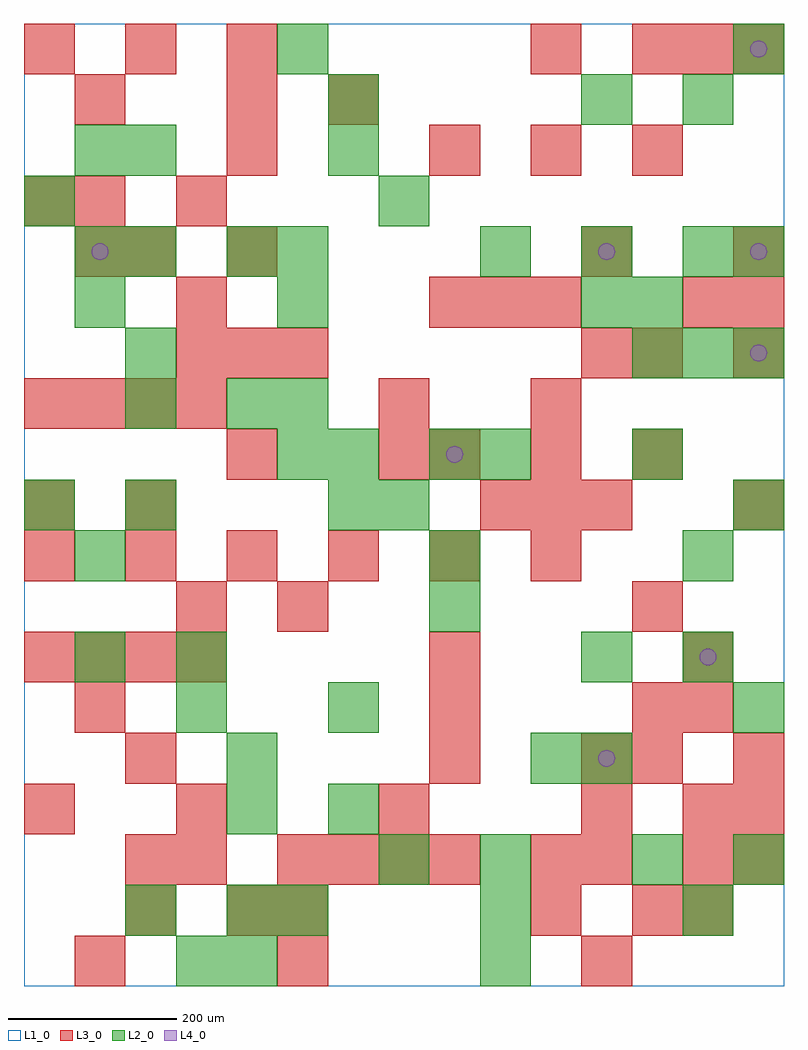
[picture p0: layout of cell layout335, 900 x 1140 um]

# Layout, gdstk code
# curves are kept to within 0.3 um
import gdstk
lib = gdstk.Library(unit=1e-6, precision=1e-09)
def R(c, l, rs):  # rectangles x0, y0, x1, y1
    for r in rs: c.add(gdstk.rectangle(r[:2], r[2:], *l))
def A(c, l, x, y, w, h, nx, ny, dx, dy):  # array of equal rectangles
    R(c, l, [(x+i*dx, y+j*dy, x+i*dx+w, y+j*dy+h) for i in range(nx) for j in range(ny)])
def P(c, l, *ps):  # polygons
    for p in ps: c.add(gdstk.Polygon(p, *l))
L1_0 = (1, 0)
L2_0 = (2, 0)
L3_0 = (3, 0)
L4_0 = (4, 0)

layout335 = lib.new_cell('layout335')
R(layout335, L1_0, [(0,0,900,1140)])
A(layout335, L2_0, 300, 60, 60, 60, 3, 1, 240, 0)
A(layout335, L2_0, 120, 720, 60, 60, 1, 3, 0, 120)
A(layout335, L2_0, 720, 720, 60, 60, 3, 1, 60, 0)
A(layout335, L2_0, 540, 840, 60, 60, 3, 1, 120, 0)
R(layout335, L2_0, [(180,0,240,60), (240,0,300,60), (540,0,600,60), (120,60,180,120), (240,60,300,120), (420,120,480,180), (540,120,600,180), (720,120,780,180), (840,120,900,180), (240,180,300,240), (360,180,420,240), (240,240,300,300), (600,240,660,300), (660,240,720,300), (180,300,240,360), (360,300,420,360), (840,300,900,360), (60,360,120,420), (180,360,240,420), (660,360,720,420), (780,360,840,420), (480,420,540,480), (60,480,120,540), (480,480,540,540), (780,480,840,540), (0,540,60,600), (120,540,180,600), (360,540,420,600), (420,540,480,600), (840,540,900,600), (300,600,360,660), (360,600,420,660), (480,600,540,660), (540,600,600,660), (720,600,780,660), (120,660,180,720), (240,660,300,720), (300,660,360,720), (60,780,120,840), (300,780,360,840), (660,780,720,840), (720,780,780,840), (60,840,120,900), (240,840,300,900), (300,840,360,900), (840,840,900,900), (0,900,60,960), (420,900,480,960), (60,960,120,1020), (360,960,420,1020), (360,1020,420,1080), (660,1020,720,1080), (780,1020,840,1080), (300,1080,360,1140), (840,1080,900,1140)])
A(layout335, L3_0, 660, 0, 60, 60, 1, 3, 0, 120)
A(layout335, L3_0, 780, 60, 60, 60, 1, 3, 0, 60)
A(layout335, L3_0, 300, 120, 60, 60, 4, 1, 60, 0)
A(layout335, L3_0, 840, 120, 60, 60, 1, 3, 0, 60)
A(layout335, L3_0, 0, 180, 60, 60, 1, 3, 0, 360)
A(layout335, L3_0, 180, 180, 60, 60, 3, 1, 240, 0)
A(layout335, L3_0, 120, 240, 60, 60, 1, 3, 0, 300)
A(layout335, L3_0, 480, 240, 60, 60, 1, 3, 0, 60)
A(layout335, L3_0, 0, 360, 60, 60, 4, 2, 60, 300)
A(layout335, L3_0, 0, 480, 60, 60, 6, 1, 120, 0)
A(layout335, L3_0, 540, 540, 60, 60, 3, 1, 60, 0)
A(layout335, L3_0, 480, 600, 60, 60, 3, 2, 120, 360)
A(layout335, L3_0, 180, 720, 60, 60, 3, 1, 60, 0)
A(layout335, L3_0, 840, 720, 60, 60, 1, 3, 0, 60)
A(layout335, L3_0, 480, 780, 60, 60, 3, 1, 60, 0)
A(layout335, L3_0, 0, 1080, 60, 60, 3, 1, 120, 0)
A(layout335, L3_0, 720, 1080, 60, 60, 3, 1, 60, 0)
R(layout335, L3_0, [(60,0,120,60), (300,0,360,60), (120,60,180,120), (240,60,300,120), (300,60,360,120), (600,60,660,120), (720,60,780,120), (120,120,180,180), (180,120,240,180), (600,120,660,180), (720,240,780,300), (60,300,120,360), (720,300,780,360), (780,300,840,360), (780,360,840,420), (180,420,240,480), (300,420,360,480), (720,420,780,480), (840,540,900,600), (240,600,300,660), (420,600,480,660), (420,660,480,720), (600,660,660,720), (660,720,720,780), (720,720,780,780), (180,780,240,840), (780,780,840,840), (60,840,120,900), (240,840,300,900), (660,840,720,900), (60,900,120,960), (180,900,240,960), (240,960,300,1020), (60,1020,120,1080), (240,1020,300,1080), (360,1020,420,1080), (600,1080,660,1140)])
P(layout335, L4_0, [(100,870),(99.239,873.827),(97.071,877.071),(93.827,879.239),(90,880),(86.173,879.239),(82.929,877.071),(80.761,873.827),(80,870),(80.761,866.173),(82.929,862.929),(86.173,860.761),(90,860),(93.827,860.761),(97.071,862.929),(99.239,866.173)],
  [(520,630),(519.239,633.827),(517.071,637.071),(513.827,639.239),(510,640),(506.173,639.239),(502.929,637.071),(500.761,633.827),(500,630),(500.761,626.173),(502.929,622.929),(506.173,620.761),(510,620),(513.827,620.761),(517.071,622.929),(519.239,626.173)],
  [(700,270),(699.239,273.827),(697.071,277.071),(693.827,279.239),(690,280),(686.173,279.239),(682.929,277.071),(680.761,273.827),(680,270),(680.761,266.173),(682.929,262.929),(686.173,260.761),(690,260),(693.827,260.761),(697.071,262.929),(699.239,266.173)],
  [(700,870),(699.239,873.827),(697.071,877.071),(693.827,879.239),(690,880),(686.173,879.239),(682.929,877.071),(680.761,873.827),(680,870),(680.761,866.173),(682.929,862.929),(686.173,860.761),(690,860),(693.827,860.761),(697.071,862.929),(699.239,866.173)],
  [(820,390),(819.239,393.827),(817.071,397.071),(813.827,399.239),(810,400),(806.173,399.239),(802.929,397.071),(800.761,393.827),(800,390),(800.761,386.173),(802.929,382.929),(806.173,380.761),(810,380),(813.827,380.761),(817.071,382.929),(819.239,386.173)],
  [(880,750),(879.239,753.827),(877.071,757.071),(873.827,759.239),(870,760),(866.173,759.239),(862.929,757.071),(860.761,753.827),(860,750),(860.761,746.173),(862.929,742.929),(866.173,740.761),(870,740),(873.827,740.761),(877.071,742.929),(879.239,746.173)],
  [(880,870),(879.239,873.827),(877.071,877.071),(873.827,879.239),(870,880),(866.173,879.239),(862.929,877.071),(860.761,873.827),(860,870),(860.761,866.173),(862.929,862.929),(866.173,860.761),(870,860),(873.827,860.761),(877.071,862.929),(879.239,866.173)],
  [(880,1110),(879.239,1113.827),(877.071,1117.071),(873.827,1119.239),(870,1120),(866.173,1119.239),(862.929,1117.071),(860.761,1113.827),(860,1110),(860.761,1106.173),(862.929,1102.929),(866.173,1100.761),(870,1100),(873.827,1100.761),(877.071,1102.929),(879.239,1106.173)])

lib.write_gds('layout335.gds')
